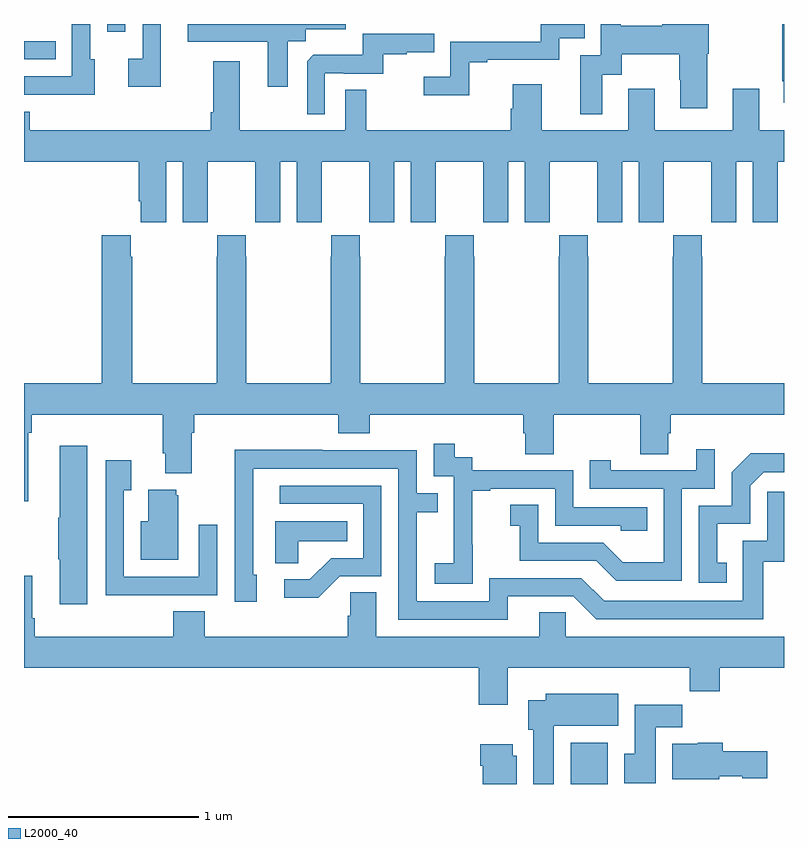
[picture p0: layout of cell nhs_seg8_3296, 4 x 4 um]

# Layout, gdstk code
import gdstk
lib = gdstk.Library(unit=1e-6, precision=1e-09)
def R(c, l, rs):  # rectangles x0, y0, x1, y1
    for r in rs: c.add(gdstk.rectangle(r[:2], r[2:], *l))
def P(c, l, *ps):  # polygons
    for p in ps: c.add(gdstk.Polygon(p, *l))
L2000_40 = (2000, 40)

nhs_seg8_3296 = lib.new_cell('nhs_seg8_3296')
R(nhs_seg8_3296, L2000_40, [(317.877,1103.9,318.073,1104.118), (315,1107.714,315.167,1107.81), (315.438,1107.858,315.534,1107.9)])
P(nhs_seg8_3296, L2000_40, [(315.373,1107.714),(315.348,1107.714),(315.348,1107.9),(315.252,1107.9),(315.252,1107.624),(315,1107.624),(315,1107.528),(315.155,1107.528),(315.155,1107.527),(315.373,1107.527)],
  [(315.721,1107.9),(315.624,1107.9),(315.624,1107.718),(315.549,1107.718),(315.549,1107.57),(315.721,1107.57)],
  [(317.343,1107.699),(317.437,1107.699),(317.437,1107.711),(317.817,1107.711),(317.817,1107.825),(317.951,1107.825),(317.951,1107.9),(317.721,1107.9),(317.721,1107.807),(317.244,1107.807),(317.244,1107.622),(317.103,1107.622),(317.103,1107.524),(317.343,1107.524)],
  [(318.043,1107.634),(318.145,1107.634),(318.145,1107.74),(318.448,1107.74),(318.448,1107.606),(318.455,1107.606),(318.455,1107.456),(318.595,1107.456),(318.595,1107.744),(318.603,1107.744),(318.603,1107.9),(318.359,1107.9),(318.359,1107.892),(318.141,1107.892),(318.141,1107.9),(318.036,1107.9),(318.036,1107.735),(317.927,1107.735),(317.927,1107.426),(318.043,1107.426)],
  [(316.387,1107.808),(316.482,1107.808),(316.482,1107.872),(316.693,1107.872),(316.693,1107.9),(315.863,1107.9),(315.863,1107.806),(316.283,1107.806),(316.283,1107.57),(316.387,1107.57)],
  [(319,1107.9),(318.991,1107.9),(318.991,1107.598),(318.998,1107.598),(318.998,1107.486),(319,1107.486)],
  [(316.584,1107.642),(316.684,1107.642),(316.684,1107.639),(316.892,1107.639),(316.892,1107.741),(317.015,1107.741),(317.015,1107.752),(317.159,1107.752),(317.159,1107.849),(316.782,1107.849),(316.782,1107.737),(316.523,1107.737),(316.491,1107.705),(316.491,1107.425),(316.584,1107.425)],
  [(318.731,1107.34),(318.319,1107.34),(318.319,1107.559),(318.179,1107.559),(318.179,1107.34),(317.725,1107.34),(317.725,1107.583),(317.573,1107.583),(317.573,1107.453),(317.561,1107.453),(317.561,1107.34),(316.801,1107.34),(316.801,1107.554),(316.692,1107.554),(316.692,1107.34),(316.135,1107.34),(316.135,1107.703),(315.995,1107.703),(315.995,1107.436),(315.983,1107.436),(315.983,1107.34),(315.031,1107.34),(315.031,1107.439),(315,1107.439),(315,1107.176),(315.605,1107.176),(315.605,1106.968),(315.614,1106.968),(315.614,1106.856),(315.748,1106.856),(315.748,1107.176),(315.836,1107.176),(315.836,1106.856),(315.966,1106.856),(315.966,1106.968),(315.967,1106.968),(315.967,1107.176),(316.217,1107.176),(316.217,1106.968),(316.218,1106.968),(316.218,1106.856),(316.348,1106.856),(316.348,1107.176),(316.436,1107.176),(316.436,1106.856),(316.566,1106.856),(316.566,1106.968),(316.567,1106.968),(316.567,1107.176),(316.817,1107.176),(316.817,1106.968),(316.818,1106.968),(316.818,1106.856),(316.948,1106.856),(316.948,1107.176),(317.036,1107.176),(317.036,1106.856),(317.166,1106.856),(317.166,1106.968),(317.167,1106.968),(317.167,1107.176),(317.417,1107.176),(317.417,1106.968),(317.418,1106.968),(317.418,1106.856),(317.548,1106.856),(317.548,1107.176),(317.636,1107.176),(317.636,1106.856),(317.766,1106.856),(317.766,1106.968),(317.767,1106.968),(317.767,1107.176),(318.017,1107.176),(318.017,1106.968),(318.018,1106.968),(318.018,1106.856),(318.148,1106.856),(318.148,1107.176),(318.236,1107.176),(318.236,1106.856),(318.366,1106.856),(318.366,1106.968),(318.367,1106.968),(318.367,1107.176),(318.617,1107.176),(318.617,1106.968),(318.618,1106.968),(318.618,1106.856),(318.748,1106.856),(318.748,1107.176),(318.836,1107.176),(318.836,1106.856),(318.966,1106.856),(318.966,1106.968),(318.967,1106.968),(318.967,1107.176),(319,1107.176),(319,1107.34),(318.871,1107.34),(318.871,1107.559),(318.731,1107.559)],
  [(315.022,1105.748),(315.041,1105.748),(315.041,1105.844),(315.731,1105.844),(315.731,1105.642),(315.743,1105.642),(315.743,1105.535),(315.883,1105.535),(315.883,1105.748),(315.896,1105.748),(315.896,1105.844),(316.655,1105.844),(316.655,1105.745),(316.82,1105.745),(316.82,1105.844),(317.627,1105.844),(317.627,1105.746),(317.639,1105.746),(317.639,1105.636),(317.787,1105.636),(317.787,1105.844),(318.244,1105.844),(318.244,1105.636),(318.391,1105.636),(318.391,1105.746),(318.404,1105.746),(318.404,1105.844),(319,1105.844),(319,1106.008),(318.57,1106.008),(318.57,1106.675),(318.567,1106.675),(318.567,1106.788),(318.417,1106.788),(318.417,1106.675),(318.415,1106.675),(318.415,1106.008),(317.97,1106.008),(317.97,1106.675),(317.967,1106.675),(317.967,1106.788),(317.817,1106.788),(317.817,1106.675),(317.815,1106.675),(317.815,1106.008),(317.37,1106.008),(317.37,1106.675),(317.367,1106.675),(317.367,1106.788),(317.217,1106.788),(317.217,1106.675),(317.215,1106.675),(317.215,1106.008),(316.77,1106.008),(316.77,1106.675),(316.767,1106.675),(316.767,1106.788),(316.617,1106.788),(316.617,1106.675),(316.615,1106.675),(316.615,1106.008),(316.17,1106.008),(316.17,1106.675),(316.167,1106.675),(316.167,1106.788),(316.017,1106.788),(316.017,1106.675),(316.015,1106.675),(316.015,1106.008),(315.57,1106.008),(315.57,1106.675),(315.563,1106.675),(315.563,1106.788),(315.41,1106.788),(315.41,1106.008),(315,1106.008),(315,1105.389),(315.022,1105.389)],
  [(317.361,1105.159),(317.36,1105.159),(317.36,1105.443),(317.455,1105.443),(317.455,1105.455),(317.796,1105.455),(317.796,1105.26),(318.141,1105.26),(318.141,1105.233),(318.281,1105.233),(318.281,1105.356),(317.892,1105.356),(317.892,1105.551),(317.358,1105.551),(317.358,1105.62),(317.266,1105.62),(317.266,1105.69),(317.157,1105.69),(317.157,1105.521),(317.262,1105.521),(317.262,1105.292),(317.261,1105.292),(317.261,1105.063),(317.163,1105.063),(317.163,1104.953),(317.361,1104.953)],
  [(315.334,1105.681),(315.188,1105.681),(315.188,1105.301),(315.181,1105.301),(315.181,1105.084),(315.188,1105.084),(315.188,1104.846),(315.334,1104.846)],
  [(318.462,1105.455),(318.636,1105.455),(318.636,1105.663),(318.539,1105.663),(318.539,1105.551),(318.088,1105.551),(318.088,1105.603),(317.977,1105.603),(317.977,1105.455),(318.366,1105.455),(318.366,1105.066),(318.152,1105.066),(318.048,1105.17),(317.706,1105.17),(317.706,1105.369),(317.559,1105.369),(317.559,1105.259),(317.608,1105.259),(317.608,1105.074),(318.011,1105.074),(318.116,1104.969),(318.462,1104.969)],
  [(317.545,1104.888),(317.892,1104.888),(318.012,1104.768),(318.892,1104.768),(318.892,1105.071),(319,1105.071),(319,1105.438),(318.912,1105.438),(318.912,1105.179),(318.783,1105.179),(318.783,1104.864),(318.054,1104.864),(317.934,1104.984),(317.448,1104.984),(317.448,1104.861),(317.067,1104.861),(317.067,1105.33),(317.177,1105.33),(317.177,1105.431),(317.067,1105.431),(317.067,1105.656),(316.571,1105.656),(316.571,1105.658),(316.108,1105.658),(316.108,1105.351),(316.11,1105.351),(316.11,1104.858),(316.225,1104.858),(316.225,1105.002),(316.206,1105.002),(316.206,1105.56),(316.971,1105.56),(316.971,1104.765),(317.545,1104.765)],
  [(318.698,1105.065),(318.649,1105.065),(318.649,1105.269),(318.822,1105.269),(318.822,1105.47),(318.894,1105.542),(319,1105.542),(319,1105.64),(318.824,1105.64),(318.726,1105.542),(318.726,1105.365),(318.552,1105.365),(318.552,1104.96),(318.698,1104.96)],
  [(315.701,1104.894),(316.017,1104.894),(316.017,1105.264),(315.921,1105.264),(315.921,1104.99),(315.525,1104.99),(315.525,1105.447),(315.565,1105.447),(315.565,1105.603),(315.429,1105.603),(315.429,1104.893),(315.701,1104.893)],
  [(316.662,1104.993),(316.881,1104.993),(316.881,1105.47),(316.347,1105.47),(316.347,1105.374),(316.785,1105.374),(316.785,1105.089),(316.616,1105.089),(316.505,1104.978),(316.371,1104.978),(316.371,1104.881),(316.549,1104.881)],
  [(315.811,1105.419),(315.8,1105.419),(315.8,1105.45),(315.653,1105.45),(315.653,1105.282),(315.614,1105.282),(315.614,1105.079),(315.811,1105.079)],
  [(316.443,1105.178),(316.7,1105.178),(316.7,1105.282),(316.322,1105.282),(316.322,1105.063),(316.443,1105.063)],
  [(317.545,1104.512),(318.505,1104.512),(318.505,1104.388),(318.662,1104.388),(318.662,1104.512),(319,1104.512),(319,1104.676),(317.85,1104.676),(317.85,1104.803),(317.711,1104.803),(317.711,1104.676),(316.855,1104.676),(316.855,1104.908),(316.716,1104.908),(316.716,1104.785),(316.703,1104.785),(316.703,1104.676),(315.95,1104.676),(315.95,1104.809),(315.785,1104.809),(315.785,1104.676),(315.056,1104.676),(315.056,1104.772),(315.043,1104.772),(315.043,1104.997),(315,1104.997),(315,1104.512),(317.393,1104.512),(317.393,1104.318),(317.545,1104.318)],
  [(317.788,1104.206),(318.127,1104.206),(318.127,1104.376),(317.747,1104.376),(317.747,1104.34),(317.654,1104.34),(317.654,1104.186),(317.681,1104.186),(317.681,1103.9),(317.788,1103.9)],
  [(318.325,1104.2),(318.464,1104.2),(318.464,1104.318),(318.215,1104.318),(318.215,1104.06),(318.158,1104.06),(318.158,1103.904),(318.325,1103.904)],
  [(318.66,1103.942),(318.78,1103.942),(318.78,1103.93),(318.913,1103.93),(318.913,1104.072),(318.677,1104.072),(318.677,1104.118),(318.546,1104.118),(318.546,1104.112),(318.413,1104.112),(318.413,1103.924),(318.66,1103.924)],
  [(317.593,1104.048),(317.572,1104.048),(317.572,1104.109),(317.402,1104.109),(317.402,1103.996),(317.414,1103.996),(317.414,1103.9),(317.593,1103.9)])

lib.write_gds('nhs_seg8_3296.gds')
